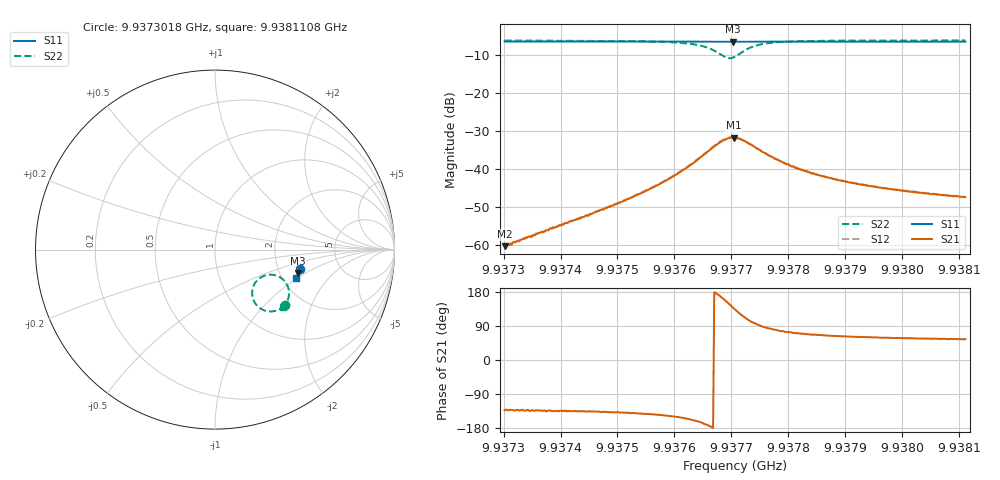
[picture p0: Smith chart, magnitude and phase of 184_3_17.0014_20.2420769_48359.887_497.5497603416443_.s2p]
#  HZ  S  RI  R  50.00
! Rohde & Schwarz Vector Network Analyzer
! Rohde-Schwarz,ZNB20-2Port,1311601062101988,3.16
! Created: UTC 3/20/2024, 11:00:17 PM
! freq[Hz]  re:S11  im:S11  re:S21  im:S21  re:S12  im:S12  re:S22  im:S22
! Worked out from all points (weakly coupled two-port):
!   401 points, 9.9373018 GHz to 9.9381108 GHz, reference 50 ohm
!   highest |S21| = -31.70 dB at 9.9377043 GHz (marker M1); lowest = -60.4 dB at 9.9373018 GHz (marker M2)
!   lowest |S11| = -6.4 dB at 9.9377023 GHz (marker M3), VSWR 2.84, Z = 125 - j42.6 ohm
!   |S11| at or under -10 dB: nowhere
!   |S22| runs from -10.7 to -6.0 dB; largest |S21 - S12| = 0.0011
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9.93730185e9  0.4716 -0.1066  -0.000647 -0.0007  -0.000652 -0.000706  0.3887 -0.3109
9.93743735e9  0.4689 -0.1157  -0.00163 -0.00162  -0.00166 -0.0016  0.3733 -0.3234
9.93751622e9  0.4669 -0.1211  -0.00297 -0.00257  -0.00304 -0.00255  0.3574 -0.3331
9.93757285e9  0.4655 -0.125  -0.00509 -0.00359  -0.00526 -0.00355  0.3361 -0.3413
9.93761936e9  0.464 -0.1282  -0.00909 -0.00438  -0.00937 -0.00436  0.3008 -0.3445
9.93765374e9  0.4625 -0.1304  -0.0155 -0.00286  -0.0159 -0.00292  0.2498 -0.3259
9.9376679e9  0.4617 -0.1312  -0.0193 -0.000349  -0.0197 0.000253  0.2232 -0.2977
9.93768205e9  0.4608 -0.1315  -0.0221 0.00558  -0.0227 0.00624  0.2071 -0.2474
9.93769419e9  0.4603 -0.1316  -0.0221 0.0125  -0.022 0.0135  0.2199 -0.1918
9.93770228e9  0.4602 -0.1314  -0.0196 0.0169  -0.0192 0.0179  0.2471 -0.1607
9.9377043e9  0.4606 -0.1313  -0.0187 0.0181  -0.0182 0.0189  0.2557 -0.1548
9.93770632e9  0.4606 -0.1315  -0.0178 0.0187  -0.0173 0.0196  0.2644 -0.1501
9.93771643e9  0.4608 -0.1316  -0.0126 0.0213  -0.0117 0.0219  0.3105 -0.1395
9.93773059e9  0.4613 -0.1325  -0.00554 0.0209  -0.005 0.0212  0.362 -0.1539
9.93775284e9  0.4616 -0.1343  0.000124 0.0171  0.000784 0.0172  0.4002 -0.194
9.93779126e9  0.4612 -0.1372  0.00288 0.0117  0.00322 0.0116  0.4125 -0.2424
9.93781755e9  0.4606 -0.1393  0.00332 0.0094  0.00363 0.00954  0.4108 -0.2614
9.93784182e9  0.46 -0.141  0.00331 0.00798  0.00359 0.00809  0.4078 -0.2739
9.93790047e9  0.4586 -0.145  0.00318 0.00603  0.00333 0.00603  0.4002 -0.2925
9.93797732e9  0.4568 -0.1501  0.00284 0.00462  0.00296 0.00461  0.3922 -0.3067
9.93804001e9  0.4552 -0.1542  0.00263 0.00398  0.00272 0.00395  0.3863 -0.3144
9.9381108e9  0.4533 -0.1588  0.00241 0.00348  0.00254 0.00344  0.3808 -0.3214
